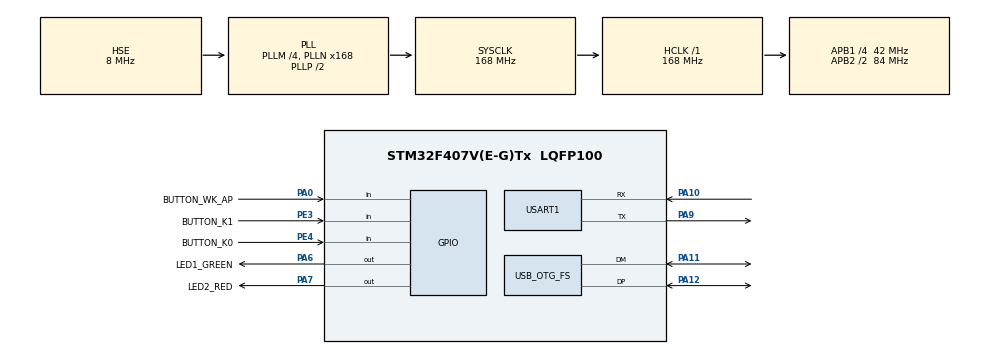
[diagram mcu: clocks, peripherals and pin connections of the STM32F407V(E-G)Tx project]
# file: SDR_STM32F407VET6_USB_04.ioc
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Mcu.Family=STM32F4
Mcu.Name=STM32F407V(E-G)Tx
Mcu.Package=LQFP100
NVIC.OTG_FS_IRQn=true\:0\:0\:false\:false\:true\:false\:true\:true
NVIC.PriorityGroup=NVIC_PRIORITYGROUP_4
PA0-WKUP.GPIO_Label=BUTTON_WK_AP
PA0-WKUP.Signal=GPIO_Input
PA10.Mode=Asynchronous
PA10.Signal=USART1_RX
PA11.Mode=Host_Only
PA11.Signal=USB_OTG_FS_DM
PA12.Mode=Host_Only
PA12.Signal=USB_OTG_FS_DP
PA6.GPIO_Label=LED1_GREEN
PA6.Signal=GPIO_Output
PA7.GPIO_Label=LED2_RED
PA7.Signal=GPIO_Output
PA9.Mode=Asynchronous
PA9.Signal=USART1_TX
PE3.GPIO_Label=BUTTON_K1
PE3.Signal=GPIO_Input
PE4.GPIO_Label=BUTTON_K0
PE4.Signal=GPIO_Input
PH0-OSC_IN.Mode=HSE-External-Oscillator
PH0-OSC_IN.Signal=RCC_OSC_IN
PH1-OSC_OUT.Mode=HSE-External-Oscillator
PH1-OSC_OUT.Signal=RCC_OSC_OUT
ProjectManager.HeapSize=0x400
ProjectManager.StackSize=0x400
ProjectManager.TargetToolchain=MDK-ARM V5.32
RCC.48MHZClocksFreq_Value=48000000
RCC.AHBFreq_Value=168000000
RCC.APB1CLKDivider=RCC_HCLK_DIV4
RCC.APB1Freq_Value=42000000
RCC.APB1TimFreq_Value=84000000
RCC.APB2CLKDivider=RCC_HCLK_DIV2
RCC.APB2Freq_Value=84000000
RCC.APB2TimFreq_Value=168000000
RCC.CortexFreq_Value=168000000
RCC.HCLKFreq_Value=168000000
RCC.HSE_VALUE=8000000
RCC.HSI_VALUE=16000000
RCC.LSE_VALUE=32768
RCC.PLLM=4
RCC.PLLN=168
RCC.PLLQ=7
RCC.SYSCLKFreq_VALUE=168000000
RCC.SYSCLKSource=RCC_SYSCLKSOURCE_PLLCLK
RCC.VCOOutputFreq_Value=336000000
USART1.VirtualMode=VM_ASYNC
USB_HOST.USBH_DEBUG_LEVEL-HID_FS=2
USB_HOST.USBH_HandleTypeDef-HID_FS=hUsbHostFS
USB_HOST.VirtualModeFS=Hid
USB_OTG_FS.VirtualMode=Host_Only
USB_OTG_FS.phy_itface=HCD_PHY_EMBEDDED
VP_USB_HOST_VS_USB_HOST_HID_FS.Mode=HID_FS
board=custom

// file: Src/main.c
/* USER CODE BEGIN Header */
/**
  ******************************************************************************
  * @file           : main.c
  * @brief          : Main program body
  ******************************************************************************
  * @attention
  *
  * Copyright (c) 2023 STMicroelectronics.
  * All rights reserved.
  *
  * This software is licensed under terms that can be found in the LICENSE file
  * in the root directory of this software component.
  * If no LICENSE file comes with this software, it is provided AS-IS.
  *
  ******************************************************************************
  */
/* USER CODE END Header */
#include "main.h"
#include "usb_host.h"

/* USER CODE BEGIN Includes */

#include "stdint.h"
#include "string.h"
#include <stdlib.h>
#include <stdio.h>

/* USER CODE END Includes */

/* USER CODE BEGIN PTD */

GPIO_TypeDef* GPIO_PORT[LEDn] = {LED1_GREEN_GPIO_Port,
                                 LED2_RED_GPIO_Port};

const uint16_t GPIO_PIN[LEDn] = {LED1_GREEN_Pin,
	                               LED2_RED_Pin};

void BSP_LED_On(Led_TypeDef Led)
{
  HAL_GPIO_WritePin(GPIO_PORT[Led], GPIO_PIN[Led], GPIO_PIN_RESET);
}

void BSP_LED_Off(Led_TypeDef Led)
{
  HAL_GPIO_WritePin(GPIO_PORT[Led], GPIO_PIN[Led], GPIO_PIN_SET);
}

void BSP_LED_Toggle(Led_TypeDef Led)
{
  HAL_GPIO_TogglePin(GPIO_PORT[Led], GPIO_PIN[Led]);
}

GPIO_TypeDef* BUTTON_PORT[BUTTONn] = {BUTTON_WK_AP_GPIO_Port,
                                      BUTTON_K0_GPIO_Port,
                                      BUTTON_K1_GPIO_Port};

const uint16_t BUTTON_PIN[BUTTONn] = {BUTTON_WK_AP_Pin,
                                      BUTTON_K0_Pin,
                                      BUTTON_K1_Pin};

const uint16_t BUTTON_IRQn[BUTTONn] = {BUTTON_WK_AP_EXTI_IRQn,
                                       BUTTON_K0_EXTI_IRQn,
                                       BUTTON_K1_EXTI_IRQn};

uint32_t BSP_PB_GetState(Button_TypeDef Button)
{
  return HAL_GPIO_ReadPin(BUTTON_PORT[Button], BUTTON_PIN[Button]);
}

/* USER CODE END PTD */

/* USER CODE BEGIN PD */

USBH_HandleTypeDef hUSBHost;
uint8_t currentScreen=0;

/* USER CODE END PD */

UART_HandleTypeDef huart1;

/* USER CODE BEGIN PV */

	#ifdef __GNUC__
  /* With GCC, small printf (option LD Linker->Libraries->Small printf
     set to 'Yes') calls __io_putchar() */
  #define PUTCHAR_PROTOTYPE int __io_putchar(int ch)
#else
  #define PUTCHAR_PROTOTYPE int fputc(int ch, FILE *f)
#endif /* __GNUC__ */

static void USBH_UserProcess(USBH_HandleTypeDef *phost, uint8_t id);

/* USER CODE END PV */

void SystemClock_Config(void);
static void MX_GPIO_Init(void);
static void MX_USART1_UART_Init(void);
void MX_USB_HOST_Process(void);

int main(void)
{

  /* MCU Configuration--------------------------------------------------------*/

  /* Reset of all peripherals, Initializes the Flash interface and the Systick. */
  HAL_Init();

  /* Configure the system clock */
  SystemClock_Config();

  /* Initialize all configured peripherals */
  MX_GPIO_Init();
  MX_USART1_UART_Init();
  MX_USB_HOST_Init();
  /* USER CODE BEGIN 2 */
	BSP_LED_Off(LED1);
	BSP_LED_Off(LED2);
	HAL_Delay(200);
	BSP_LED_On(LED1);
	BSP_LED_On(LED2);
	HAL_Delay(200);
	BSP_LED_Off(LED1);
	BSP_LED_Off(LED2);
	printf("Start system\r\n");

	  /* Init Host Library */
	//USBH_Init(&hUSBHost, USBH_UserProcess, 0);
	 /* Add Supported Class */
  USBH_RegisterClass(&hUSBHost, USBH_RTLSDR_CLASS);

	 /* Start Host Process */
  USBH_Start(&hUSBHost);

	 RTLSDR_HandleTypeDef *RTLSDR_Handle = (RTLSDR_HandleTypeDef*) hUSBHost.pActiveClass->pData;

//	uint8_t start_text[]="Hello from start\n\r";
//	HAL_UART_Transmit(&huart1,start_text,20,0xFFFF);
  /* USER CODE END 2 */

  /* Infinite loop */
  while (1)
  {
    MX_USB_HOST_Process();

    /* USER CODE BEGIN 3 */

	//	 USBH_Process(&hUSBHost);
			if (RTLSDR_Handle->xferState==RTLSDR_XFER_COMPLETE)
			{
		    //USBH_UsrLog("St %d", *RTLSDR_Handle);
		    RTLSDR_Handle->xferState = RTLSDR_XFER_START;
	    }

  }
  /* USER CODE END 3 */
}

void SystemClock_Config(void)
{
  RCC_OscInitTypeDef RCC_OscInitStruct = {0};
  RCC_ClkInitTypeDef RCC_ClkInitStruct = {0};

  /** Configure the main internal regulator output voltage
  */
  __HAL_RCC_PWR_CLK_ENABLE();
  __HAL_PWR_VOLTAGESCALING_CONFIG(PWR_REGULATOR_VOLTAGE_SCALE1);

  /** Initializes the RCC Oscillators according to the specified parameters
  * in the RCC_OscInitTypeDef structure.
  */
  RCC_OscInitStruct.OscillatorType = RCC_OSCILLATORTYPE_HSE;
  RCC_OscInitStruct.HSEState = RCC_HSE_ON;
  RCC_OscInitStruct.PLL.PLLState = RCC_PLL_ON;
  RCC_OscInitStruct.PLL.PLLSource = RCC_PLLSOURCE_HSE;
  RCC_OscInitStruct.PLL.PLLM = 4;
  RCC_OscInitStruct.PLL.PLLN = 168;
  RCC_OscInitStruct.PLL.PLLP = RCC_PLLP_DIV2;
  RCC_OscInitStruct.PLL.PLLQ = 7;
  if (HAL_RCC_OscConfig(&RCC_OscInitStruct) != HAL_OK)
  {
    Error_Handler();
  }

  /** Initializes the CPU, AHB and APB buses clocks
  */
  RCC_ClkInitStruct.ClockType = RCC_CLOCKTYPE_HCLK|RCC_CLOCKTYPE_SYSCLK
                              |RCC_CLOCKTYPE_PCLK1|RCC_CLOCKTYPE_PCLK2;
  RCC_ClkInitStruct.SYSCLKSource = RCC_SYSCLKSOURCE_PLLCLK;
  RCC_ClkInitStruct.AHBCLKDivider = RCC_SYSCLK_DIV1;
  RCC_ClkInitStruct.APB1CLKDivider = RCC_HCLK_DIV4;
  RCC_ClkInitStruct.APB2CLKDivider = RCC_HCLK_DIV2;

  if (HAL_RCC_ClockConfig(&RCC_ClkInitStruct, FLASH_LATENCY_5) != HAL_OK)
  {
    Error_Handler();
  }
}

static void MX_USART1_UART_Init(void)
{

  huart1.Instance = USART1;
  huart1.Init.BaudRate = 115200;
  huart1.Init.WordLength = UART_WORDLENGTH_8B;
  huart1.Init.StopBits = UART_STOPBITS_1;
  huart1.Init.Parity = UART_PARITY_NONE;
  huart1.Init.Mode = UART_MODE_TX_RX;
  huart1.Init.HwFlowCtl = UART_HWCONTROL_NONE;
  huart1.Init.OverSampling = UART_OVERSAMPLING_16;
  if (HAL_UART_Init(&huart1) != HAL_OK)
  {
    Error_Handler();
  }

}

static void MX_GPIO_Init(void)
{
  GPIO_InitTypeDef GPIO_InitStruct = {0};

  /* GPIO Ports Clock Enable */
  __HAL_RCC_GPIOE_CLK_ENABLE();
  __HAL_RCC_GPIOH_CLK_ENABLE();
  __HAL_RCC_GPIOA_CLK_ENABLE();

  /*Configure GPIO pin Output Level */
  HAL_GPIO_WritePin(GPIOA, LED1_GREEN_Pin|LED2_RED_Pin, GPIO_PIN_RESET);

  /*Configure GPIO pins : BUTTON_K1_Pin BUTTON_K0_Pin */
  GPIO_InitStruct.Pin = BUTTON_K1_Pin|BUTTON_K0_Pin;
  GPIO_InitStruct.Mode = GPIO_MODE_INPUT;
  GPIO_InitStruct.Pull = GPIO_NOPULL;
  HAL_GPIO_Init(GPIOE, &GPIO_InitStruct);

  /*Configure GPIO pin : BUTTON_WK_AP_Pin */
  GPIO_InitStruct.Pin = BUTTON_WK_AP_Pin;
  GPIO_InitStruct.Mode = GPIO_MODE_INPUT;
  GPIO_InitStruct.Pull = GPIO_NOPULL;
  HAL_GPIO_Init(BUTTON_WK_AP_GPIO_Port, &GPIO_InitStruct);

  /*Configure GPIO pins : LED1_GREEN_Pin LED2_RED_Pin */
  GPIO_InitStruct.Pin = LED1_GREEN_Pin|LED2_RED_Pin;
  GPIO_InitStruct.Mode = GPIO_MODE_OUTPUT_PP;
  GPIO_InitStruct.Pull = GPIO_NOPULL;
  GPIO_InitStruct.Speed = GPIO_SPEED_FREQ_LOW;
  HAL_GPIO_Init(GPIOA, &GPIO_InitStruct);

}

/* USER CODE BEGIN 4 */

PUTCHAR_PROTOTYPE
{
  /* Place your implementation of fputc here */
  /* e.g. write a character to the EVAL_COM1 and Loop until the end of transmission */
  HAL_UART_Transmit(&huart1, (uint8_t *)&ch, 1, 0xFFFF);

  return ch;
}

  uint8_t id_prev = HOST_USER_SELECT_CONFIGURATION;

static void USBH_UserProcess(USBH_HandleTypeDef *phost, uint8_t id)
{
  if (id != id_prev) {
    switch(id) {
    case HOST_USER_SELECT_CONFIGURATION:
      USBH_UsrLog("Select config");
      break;

    case HOST_USER_CLASS_ACTIVE:
      USBH_UsrLog("Class active");

      break;

    case HOST_USER_CLASS_SELECTED:
      USBH_UsrLog("Class selected");
      break;

    case HOST_USER_CONNECTION:
      USBH_UsrLog("Connection");
      break;

    case HOST_USER_DISCONNECTION:
      USBH_UsrLog("Disconnection");
      break;

    case HOST_USER_UNRECOVERED_ERROR:
      USBH_UsrLog("Unrecovered Error");
      break;

    default:
    USBH_UsrLog("Unknown USBH User State: %d", id);
      break;
    }
  }
  id_prev = id;

  /*RTLSDR_HandleTypeDef *RTLSDR_Handle =
		(RTLSDR_HandleTypeDef*) phost->pActiveClass->pData;

  if (phost->gState==HOST_CLASS) {
		if (RTLSDR_Handle->xferState==RTLSDR_XFER_COMPLETE) {
			USBH_UsrLog("St %d", *RTLSDR_Handle);
			//RTLSDR_Handle->xferState = RTLSDR_XFER_START;
		}

	}*/

}

/* USER CODE END 4 */

void Error_Handler(void)
{
  /* USER CODE BEGIN Error_Handler_Debug */
  /* User can add his own implementation to report the HAL error return state */

	BSP_LED_Toggle(LED2);
	HAL_Delay(100);
	BSP_LED_Toggle(LED2);
	HAL_Delay(100);
	BSP_LED_Toggle(LED2);
	HAL_Delay(100);
	BSP_LED_Toggle(LED2);

  __disable_irq();
  while (1)
  {
  }
  /* USER CODE END Error_Handler_Debug */
}
